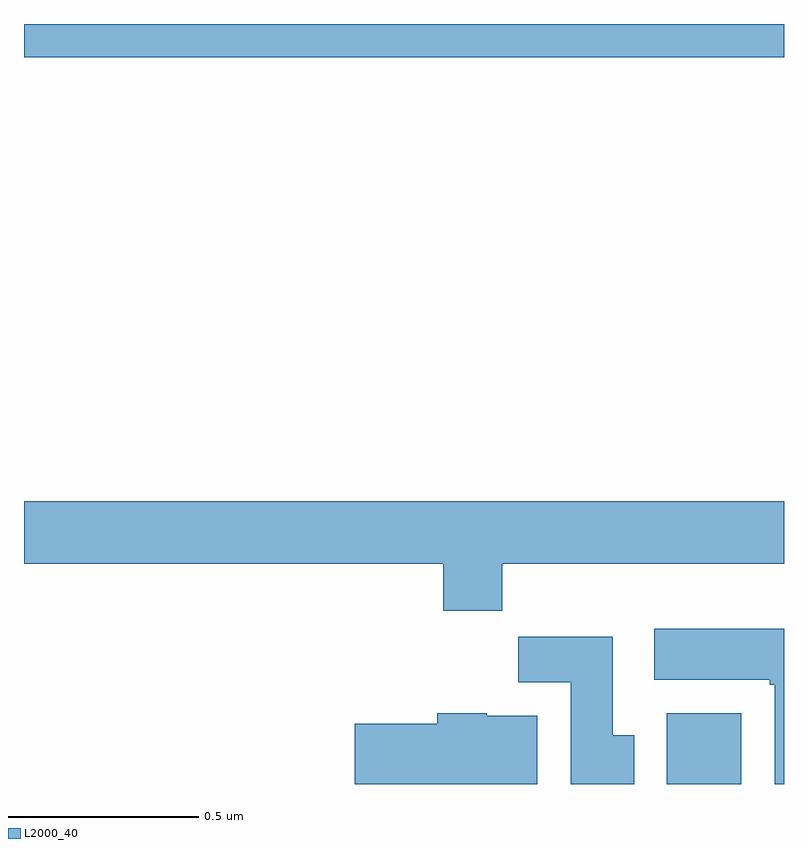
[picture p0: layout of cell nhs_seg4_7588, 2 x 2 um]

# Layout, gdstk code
import gdstk
lib = gdstk.Library(unit=1e-6, precision=1e-09)
def R(c, l, rs):  # rectangles x0, y0, x1, y1
    for r in rs: c.add(gdstk.rectangle(r[:2], r[2:], *l))
def P(c, l, *ps):  # polygons
    for p in ps: c.add(gdstk.Polygon(p, *l))
L2000_40 = (2000, 40)

nhs_seg4_7588 = lib.new_cell('nhs_seg4_7588')
R(nhs_seg4_7588, L2000_40, [(205.691,802.9,205.888,803.086), (204,804.812,206,804.9)])
P(nhs_seg4_7588, L2000_40, [(205.259,803.48),(206,803.48),(206,803.644),(204,803.644),(204,803.48),(205.103,803.48),(205.103,803.356),(205.259,803.356)],
  [(206,803.308),(205.659,803.308),(205.659,803.174),(205.963,803.174),(205.963,803.161),(205.976,803.161),(205.976,802.9),(206,802.9)],
  [(205.606,803.028),(205.549,803.028),(205.549,803.287),(205.3,803.287),(205.3,803.168),(205.439,803.168),(205.439,802.9),(205.606,802.9)],
  [(205.351,803.08),(205.218,803.08),(205.218,803.086),(205.088,803.086),(205.088,803.058),(204.87,803.058),(204.87,802.9),(205.351,802.9)])

lib.write_gds('nhs_seg4_7588.gds')
